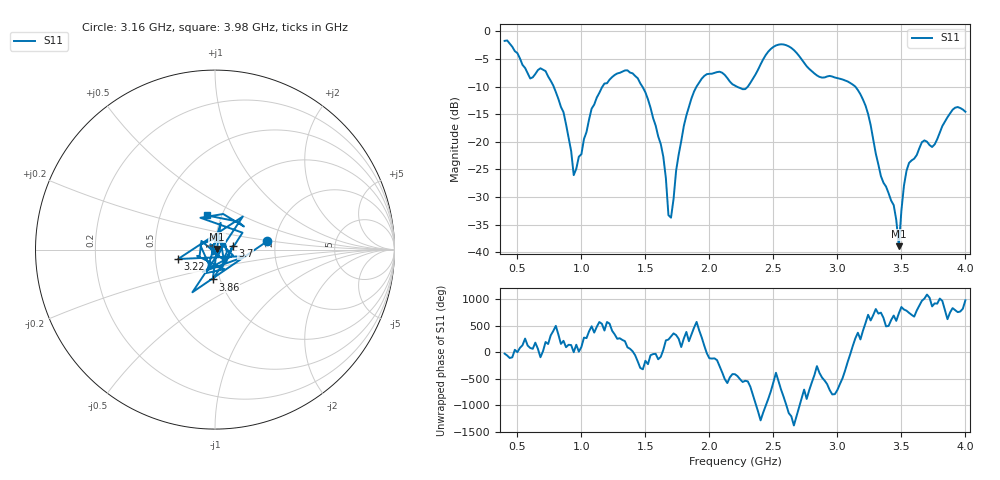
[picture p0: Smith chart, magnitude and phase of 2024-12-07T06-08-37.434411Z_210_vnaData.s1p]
!Created with skrf (http://scikit-rf.org).
# Hz S RI R 50.0
!freq ReS11 ImS11
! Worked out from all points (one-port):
!   181 points, 400 MHz to 4 GHz, reference 50 ohm
!   lowest |S11| = -38.9 dB at 3.48 GHz (marker M1), VSWR 1.02, Z = 51.1 + j0.297 ohm
!   |S11| at or under -10 dB: 783.2 MHz to 1.165 GHz (381.5 MHz wide, 39.2 % of centre); 1.476 GHz to 1.9 GHz (423.8 MHz wide, 25.1 % of centre); 3.139 GHz to end of sweep (the widest 3 of 4)
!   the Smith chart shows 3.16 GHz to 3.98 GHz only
!   S11 on the Smith chart (normalised r, x): 3.16 GHz: 1.81, +0.18; 3.22 GHz: 0.66, -0.07; 3.7 GHz: 1.22, +0.05; 3.86 GHz: 0.92, -0.32; 3.98 GHz: 0.85, +0.34
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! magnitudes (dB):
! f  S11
! 400 MHz  -1.7
! 600 MHz  -8.5
! 720 MHz  -7.2
! 860 MHz  -14.6
! 940 MHz  -26.1
! 1.08 GHz  -14.0
! 1.3 GHz  -7.5
! 1.52 GHz  -12.3
! 1.64 GHz  -22.7
! 1.68 GHz  -33.3
! 1.7 GHz  -33.8
! 1.76 GHz  -22.3
! 1.94 GHz  -8.6
! 2.2 GHz  -9.8
! 2.5 GHz  -2.8
! 2.66 GHz  -3.4
! 3.1 GHz  -9.3
! 3.16 GHz  -10.6
! 3.22 GHz  -13.5
! 3.34 GHz  -26.2
! 3.44 GHz  -31.5
! 3.48 GHz  -38.9
! 3.52 GHz  -28.0
! 3.56 GHz  -23.8
! 3.7 GHz  -20.0
! 3.86 GHz  -15.6
! 3.98 GHz  -14.2
! 4 GHz  -14.6
